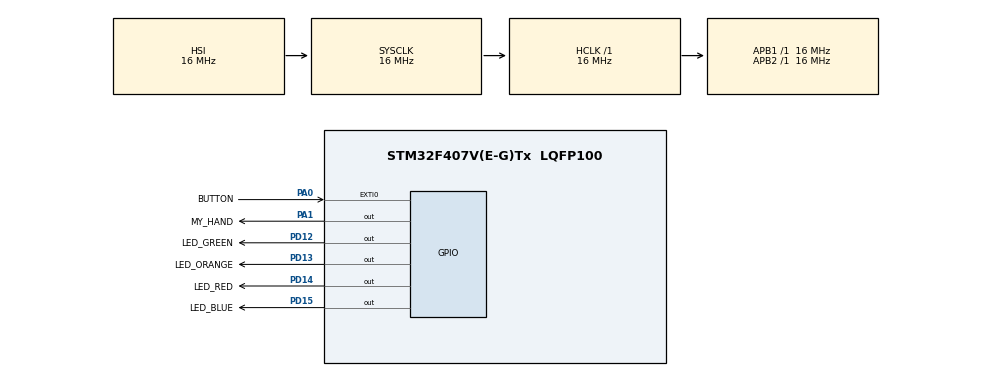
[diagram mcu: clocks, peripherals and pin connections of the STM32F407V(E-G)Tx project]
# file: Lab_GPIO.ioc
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Mcu.Family=STM32F4
Mcu.Name=STM32F407V(E-G)Tx
Mcu.Package=LQFP100
NVIC.EXTI0_IRQn=true\:0\:0\:false\:false\:true\:true\:true\:true
NVIC.PriorityGroup=NVIC_PRIORITYGROUP_4
PA0-WKUP.GPIO_Label=BUTTON
PA0-WKUP.GPIO_ModeDefaultEXTI=GPIO_MODE_IT_RISING
PA0-WKUP.Signal=GPXTI0
PA1.GPIO_Label=MY_HAND
PA1.Signal=GPIO_Output
PD12.GPIO_Label=LED_GREEN
PD12.GPIO_ModeDefaultOutputPP=GPIO_MODE_OUTPUT_PP
PD12.Signal=GPIO_Output
PD13.GPIO_Label=LED_ORANGE
PD13.Signal=GPIO_Output
PD14.GPIO_Label=LED_RED
PD14.Signal=GPIO_Output
PD15.GPIO_Label=LED_BLUE
PD15.Signal=GPIO_Output
ProjectManager.HeapSize=0x200
ProjectManager.StackSize=0x400
ProjectManager.TargetToolchain=MDK-ARM V5.32
RCC.AHBFreq_Value=16000000
RCC.APB1Freq_Value=16000000
RCC.APB2Freq_Value=16000000
RCC.CortexFreq_Value=16000000
RCC.HSE_VALUE=25000000
RCC.HSI_VALUE=16000000
RCC.LSE_VALUE=32768
RCC.SYSCLKFreq_VALUE=16000000
RCC.VCOOutputFreq_Value=192000000
board=custom

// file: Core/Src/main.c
/* USER CODE BEGIN Header */
/**
  ******************************************************************************
  * @file           : main.c
  * @brief          : Main program body
  ******************************************************************************
  * @attention
  *
  * Copyright (c) 2023 STMicroelectronics.
  * All rights reserved.
  *
  * This software is licensed under terms that can be found in the LICENSE file
  * in the root directory of this software component.
  * If no LICENSE file comes with this software, it is provided AS-IS.
  *
  ******************************************************************************
  */
/* USER CODE END Header */
#include "main.h"
#include "gpio.h"

/* USER CODE BEGIN PTD */
typedef enum
{
	TETIANA,
	ANASTASIIA,
	DMYTRO,
	ALGO_ALL
}algorithm_e_t;

typedef enum
{
	STEP_1,
	STEP_2,
	STEP_3,
	STEP_4,
	STEP_ALL
}algorithm_steps_e_t;
/* USER CODE END PTD */

/* USER CODE BEGIN PD */
#define COUNTER_DELAY_MAX 10
/* USER CODE END PD */

/* USER CODE BEGIN PV */
/* Standarts type
uint8_t (int8_t)   - variable of 1 byte   //"BYTE"
uint16_t (int16_t) - variable of 2 bytes  //"HALFWORD"
uint32_t (int32_t) - variable of 4 bytes  //"WORD"
uint64_t (int64_t) - variable of 8 bytes
float              - variable of 4 bytes
dowble             - variable of 8 bytes
bool               - variable of 1 byte
   User type
Enumerators
Structures

typedef enum
{
		words = digital;
}name_enumerators;

typedef struct
{
		uint8_t var1;
		uint32_t var2;
}name_strure;
*/

algorithm_e_t algorithm = TETIANA;
button_state_e_t button_state = BUTTON_UNPRESS;
algorithm_steps_e_t algorithm_steps = STEP_1;
uint8_t counter_delay = 0;
/* USER CODE END PV */

void SystemClock_Config(void);

int main(void)
{

  /* MCU Configuration--------------------------------------------------------*/

  /* Reset of all peripherals, Initializes the Flash interface and the Systick. */
  HAL_Init();

  /* Configure the system clock */
  SystemClock_Config();

  /* Initialize all configured peripherals */
  MX_GPIO_Init();

  /* Infinite loop */
  /* USER CODE BEGIN WHILE */
  while (1)
  {
//		if (GPIO_PIN_SET == HAL_GPIO_ReadPin(BUTTON_GPIO_Port, BUTTON_Pin))
//		{
//			if (BUTTON_UNPRESS == button_state)
//			{
//				button_state = BUTTON_PRESS;
//				// switch new event
//				algorithm ++;
//				if (algorithm == ALGO_ALL)
//				{
//					algorithm = TETIANA;
//				}
//			}
//		}
//		else // GPIO_PIN_RESET
//		{
//			if (BUTTON_PRESS == button_state)
//			{
//				button_state = BUTTON_UNPRESS;
//				// switch new event
//			}
//		}

		if (BUTTON_PRESS == button_state)
		{
			button_state = BUTTON_UNPRESS;
			// switch new event
			algorithm ++;
			if (algorithm == ALGO_ALL)
			{
				algorithm = TETIANA;
			}
		}

		switch (algorithm)
		{
			case TETIANA:
			{
				/* From Tetyana */
				HAL_Delay(100);
				counter_delay ++;
				if (counter_delay == COUNTER_DELAY_MAX)
				{
					counter_delay = 0;
					// ALGORITH SWITCH
					switch (algorithm_steps)
					{
						case STEP_1:
						{
							HAL_GPIO_WritePin(LED_GREEN_GPIO_Port, LED_GREEN_Pin, GPIO_PIN_RESET);
							HAL_GPIO_WritePin(LED_ORANGE_GPIO_Port, LED_ORANGE_Pin, GPIO_PIN_SET);

							break;
						}
						case STEP_2:
						{
							HAL_GPIO_WritePin(LED_ORANGE_GPIO_Port, LED_ORANGE_Pin, GPIO_PIN_RESET);
							HAL_GPIO_WritePin(LED_RED_GPIO_Port, LED_RED_Pin, GPIO_PIN_SET);

							break;
						}
						case STEP_3:
						{
							HAL_GPIO_WritePin(LED_RED_GPIO_Port, LED_RED_Pin, GPIO_PIN_RESET);
							HAL_GPIO_WritePin(LED_BLUE_GPIO_Port, LED_BLUE_Pin, GPIO_PIN_SET);

							break;
						}
						case STEP_4:
						{
							HAL_GPIO_WritePin(LED_BLUE_GPIO_Port, LED_BLUE_Pin, GPIO_PIN_RESET);
							HAL_GPIO_WritePin(LED_GREEN_GPIO_Port, LED_GREEN_Pin, GPIO_PIN_SET);

							break;
						}
						default:
							break;
					}

					algorithm_steps++;
					if (algorithm_steps == STEP_ALL)
					{
						algorithm_steps = STEP_1;
					}
				}
				break; // Tetiana
			}
			case ANASTASIIA:
			{
				/* From Anastasiya */
				HAL_Delay(500);
				HAL_GPIO_WritePin(LED_GREEN_GPIO_Port, LED_GREEN_Pin, GPIO_PIN_RESET);
				HAL_GPIO_WritePin(LED_BLUE_GPIO_Port, LED_BLUE_Pin, GPIO_PIN_SET);
				HAL_Delay(500);
				HAL_GPIO_WritePin(LED_BLUE_GPIO_Port, LED_BLUE_Pin, GPIO_PIN_RESET);
				HAL_GPIO_WritePin(LED_RED_GPIO_Port, LED_RED_Pin, GPIO_PIN_SET);
				HAL_Delay(500);
				HAL_GPIO_WritePin(LED_RED_GPIO_Port, LED_RED_Pin, GPIO_PIN_RESET);
				HAL_GPIO_WritePin(LED_ORANGE_GPIO_Port, LED_ORANGE_Pin, GPIO_PIN_SET);
				HAL_Delay(500);
				HAL_GPIO_WritePin(LED_ORANGE_GPIO_Port, LED_ORANGE_Pin, GPIO_PIN_RESET);
				HAL_GPIO_WritePin(LED_GREEN_GPIO_Port, LED_GREEN_Pin, GPIO_PIN_SET);

				break;
			}

			case DMYTRO:
			{
				/* From Dmytro */
				HAL_Delay(500); // GO
				HAL_GPIO_WritePin(LED_GREEN_GPIO_Port, LED_GREEN_Pin, GPIO_PIN_RESET); // green off
				HAL_GPIO_WritePin(LED_RED_GPIO_Port, LED_RED_Pin, GPIO_PIN_SET); // red on
				HAL_Delay(500); // OR
				HAL_GPIO_WritePin(LED_ORANGE_GPIO_Port, LED_ORANGE_Pin, GPIO_PIN_RESET); // orange off
				HAL_GPIO_WritePin(LED_BLUE_GPIO_Port, LED_BLUE_Pin, GPIO_PIN_SET); // blue on
				HAL_Delay(500); // RB
				HAL_GPIO_WritePin(LED_RED_GPIO_Port, LED_RED_Pin, GPIO_PIN_RESET); // red off
				HAL_GPIO_WritePin(LED_GREEN_GPIO_Port, LED_GREEN_Pin, GPIO_PIN_SET); // green on
				HAL_Delay(500); // BG
				HAL_GPIO_WritePin(LED_BLUE_GPIO_Port, LED_BLUE_Pin, GPIO_PIN_RESET); // blue off
				HAL_GPIO_WritePin(LED_ORANGE_GPIO_Port, LED_ORANGE_Pin, GPIO_PIN_SET); // orange on

				break;
			}
			default:
				break;
		}
    /* USER CODE END WHILE */

  }
}

void SystemClock_Config(void)
{
  RCC_OscInitTypeDef RCC_OscInitStruct = {0};
  RCC_ClkInitTypeDef RCC_ClkInitStruct = {0};

  /** Configure the main internal regulator output voltage
  */
  __HAL_RCC_PWR_CLK_ENABLE();
  __HAL_PWR_VOLTAGESCALING_CONFIG(PWR_REGULATOR_VOLTAGE_SCALE1);

  /** Initializes the RCC Oscillators according to the specified parameters
  * in the RCC_OscInitTypeDef structure.
  */
  RCC_OscInitStruct.OscillatorType = RCC_OSCILLATORTYPE_HSI;
  RCC_OscInitStruct.HSIState = RCC_HSI_ON;
  RCC_OscInitStruct.HSICalibrationValue = RCC_HSICALIBRATION_DEFAULT;
  RCC_OscInitStruct.PLL.PLLState = RCC_PLL_NONE;
  if (HAL_RCC_OscConfig(&RCC_OscInitStruct) != HAL_OK)
  {
    Error_Handler();
  }

  /** Initializes the CPU, AHB and APB buses clocks
  */
  RCC_ClkInitStruct.ClockType = RCC_CLOCKTYPE_HCLK|RCC_CLOCKTYPE_SYSCLK
                              |RCC_CLOCKTYPE_PCLK1|RCC_CLOCKTYPE_PCLK2;
  RCC_ClkInitStruct.SYSCLKSource = RCC_SYSCLKSOURCE_HSI;
  RCC_ClkInitStruct.AHBCLKDivider = RCC_SYSCLK_DIV1;
  RCC_ClkInitStruct.APB1CLKDivider = RCC_HCLK_DIV1;
  RCC_ClkInitStruct.APB2CLKDivider = RCC_HCLK_DIV1;

  if (HAL_RCC_ClockConfig(&RCC_ClkInitStruct, FLASH_LATENCY_0) != HAL_OK)
  {
    Error_Handler();
  }
}

void Error_Handler(void)
{
  __disable_irq();
  while (1)
  {
  }
}
